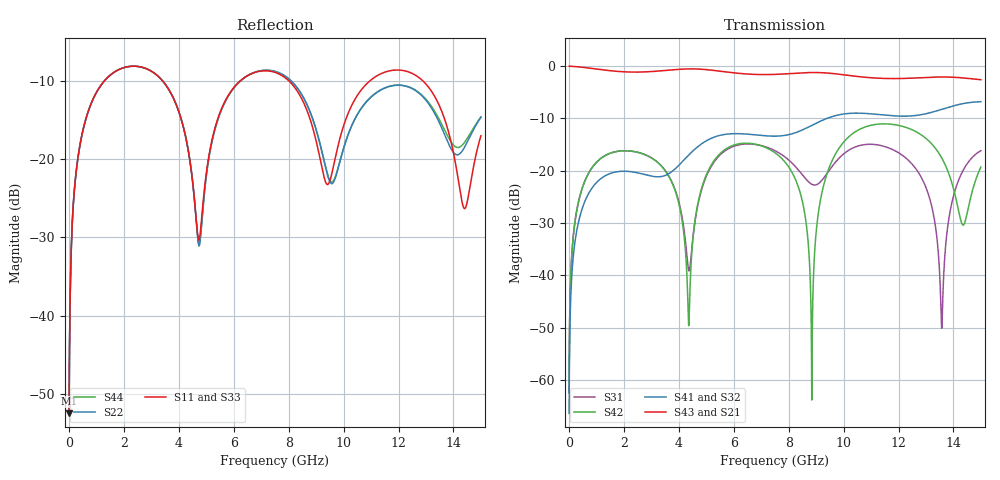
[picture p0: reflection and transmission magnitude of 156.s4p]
! Created with skrf 1.8.0 (http://scikit-rf.org).
# GHz S RI R 50.0
!freq ReS11 ImS11 ReS12 ImS12 ReS13 ImS13
! ReS14 ImS14
! ReS21 ImS21 ReS22 ImS22 ReS23 ImS23
! ReS24 ImS24
! ReS31 ImS31 ReS32 ImS32 ReS33 ImS33
! ReS34 ImS34
! ReS41 ImS41 ReS42 ImS42 ReS43 ImS43
! ReS44 ImS44
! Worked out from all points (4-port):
!   2499 points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, 5 MHz to 15 GHz, reference 50 ohm
!   strongest paths, dB at 5 MHz, 3.476 GHz, 7.19 GHz, 11.1 GHz, 15 GHz:
!     S43: 0.0, -0.8, -1.6, -2.3, -2.6
!     S21: 0.0, -0.8, -1.6, -2.3, -2.6
!     S41: -66.4, -21.0, -13.3, -9.2, -6.8
!     S32: -66.4, -21.1, -13.4, -9.3, -6.8
!     S42: -62.5, -19.8, -15.6, -11.2, -19.3
!     S31: -62.5, -19.8, -15.5, -15.0, -16.2
!   lowest |S11| = -52.5 dB at 5 MHz (marker M1), VSWR 1.00, Z = 50.2 + j0.144 ohm
!   |S11| at or under -10 dB: 3.412 GHz to 6.23 GHz (2.819 GHz wide, 58.5 % of centre); 8.012 GHz to 10.95 GHz (2.94 GHz wide, 31 % of centre); 12.89 GHz to end of sweep (the widest 3 of 4)
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0.005  0.00189 0.00144  0.9981 -0.00368  9.57e-05 0.000746  -9.3e-05 -0.000469
       0.9981 -0.00368  0.00189 0.00144  -9.3e-05 -0.000469  9.57e-05 0.000746
       9.57e-05 0.000746  -9.3e-05 -0.000469  0.00189 0.00144  0.9981 -0.00368
       -9.3e-05 -0.000469  9.57e-05 0.000746  0.9981 -0.00368  0.00189 0.00144
1.419341  0.2877 0.1709  0.5109 -0.7503  0.1327 0.0554  -0.0921 0.000164
          0.5109 -0.7503  0.2878 0.1709  -0.0919 -7.66e-05  0.1327 0.0555
          0.1327 0.0554  -0.0919 -7.66e-05  0.2879 0.1708  0.5109 -0.7504
          -0.0921 0.000164  0.1327 0.0555  0.5109 -0.7504  0.2877 0.171
4.358066  0.0533 -0.096  -0.8875 -0.3085  -0.0107 -0.00327  -0.0405 0.1349
          -0.8875 -0.3085  0.0517 -0.0978  -0.0435 0.1339  -0.00322 -0.000676
          -0.0107 -0.00327  -0.0435 0.1339  0.0524 -0.0963  -0.8876 -0.3084
          -0.0405 0.1349  -0.00322 -0.000676  -0.8876 -0.3084  0.0525 -0.0974
7.309296  0.3645 -0.0306  -0.0147 0.8301  0.1363 -0.0904  0.2047 -0.0632
          -0.0147 0.8301  0.3691 -0.0269  0.2046 -0.0555  0.1401 -0.076
          0.1363 -0.0904  0.2046 -0.0555  0.3657 -0.0325  -0.0145 0.8301
          0.2047 -0.0632  0.1401 -0.076  -0.0145 0.8301  0.368 -0.0253
8.841184  0.1184 -0.1174  0.7136 0.4933  -0.0642 -0.0371  0.1428 -0.2301
          0.7136 0.4933  0.1299 -0.1363  0.153 -0.2234  -0.000549 -0.000329
          -0.0642 -0.0371  0.153 -0.2234  0.1148 -0.1188  0.714 0.493
          0.1428 -0.2301  -0.000549 -0.000329  0.714 0.493  0.1316 -0.1342
13.57441  0.1278 -0.1571  -0.588 -0.5247  -0.00294 -0.00104  -0.2371 0.3044
          -0.588 -0.5247  0.1428 -0.0689  -0.258 0.286  -0.0582 -0.1187
          -0.00294 -0.00104  -0.258 0.286  0.1263 -0.1655  -0.5861 -0.5246
          -0.2371 0.3044  -0.0582 -0.1187  -0.5861 -0.5246  0.1545 -0.0647
15  0.0988 0.1009  -0.7203 0.1728  0.1125 0.1069  0.1535 0.4296
    -0.7203 0.1728  0.162 0.0902  0.1232 0.439  0.0997 0.0422
    0.1125 0.1069  0.1232 0.439  0.0939 0.1045  -0.7203 0.172
    0.1535 0.4296  0.0997 0.0422  -0.7203 0.172  0.1668 0.0827
